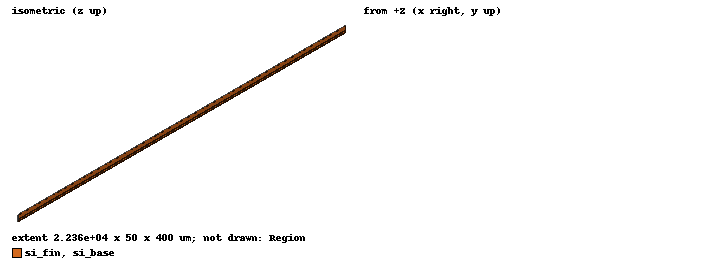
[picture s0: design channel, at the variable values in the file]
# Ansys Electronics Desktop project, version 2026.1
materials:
  air: permittivity=1.0006 permeability=1.0000004 thermal_conductivity=0.0261 mass_density=1.1614 specific_heat=1005 thermal_expansion_coefficient=0.00333 thermal_material_type=Fluid diffusivity=2.88e-05 molecular_mass=0.028966 viscosity=1.84e-05 material_refractive_index=1.000293
  si_k130: permittivity=1 permeability=1 thermal_conductivity=130 mass_density=2329 specific_heat=703 diffusivity=0.8
  Water(@320K): thermal_conductivity=0.6367 mass_density=989 specific_heat=4177 thermal_expansion_coefficient=0.000435 thermal_material_type=Fluid diffusivity=5.66e-07 molecular_mass=0.018015 viscosity=0.000577 material_refractive_index=1.333
  water_corr: permittivity=1 permeability=1 thermal_conductivity=0.644 mass_density=988 specific_heat=4181 thermal_expansion_coefficient=0.000435 thermal_material_type=Fluid diffusivity=5.66e-07 molecular_mass=0.018015 viscosity=0.000547 material_refractive_index=1.333
  Al-Extruded: thermal_conductivity=205 mass_density=2800 specific_heat=900 youngs_modulus=69000000000 poissons_ratio=0.33 thermal_expansion_coefficient=2.277e-06 thermal_material_type=Solid
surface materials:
  Steel-oxidised-surface: surface_emissivity=0.8

design channel (Icepak, SteadyState TemperatureAndFlow, model units um)
options: Default_Fluid_Material=water_corr Default_Solid_Material=si_k130 Default_Surface_Material=Steel-oxidised-surface AmbientTemperature=25cel AmbientPressure=0n_per_meter_sq AmbientRadiationTemperature=25cel Gravity_Vector_CS_ID=Global Gravity_Vector_Axis=X Positive=false SherlockExportDirectory=/home/beams/MGHARIB/claude_scratch/aedt_work/icepak Altitude=0meter OperatingPressure=101325n_per_meter_sq OperatingDensity=1.225kg_per_m3 JouleHeatingType=0 DisableShellConductionForJouleHeating
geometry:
  Region [water_corr] = region(percentage_offset=0 on all sides)
  si_base [si_k130] = box(corner=(0um, 0um, 0um), size=(22360um, 50um, 100um))
  si_fin [si_k130] = box(corner=(0um, 0um, 100um), size=(22360um, 25um, 300um))
  inlet_sheet [air] = rectangle(corner=(0um, 25um, 100um), y_size=25um, z_size=300um)
  outlet_sheet [air] = rectangle(corner=(22360um, 25um, 100um), y_size=25um, z_size=300um)
  point Point_0U8TUY = (500um, 25um, 1um)
  point Point_G7B4KT = (2000um, 25um, 1um)
  point Point_13JPAH = (6000um, 25um, 1um)
  point Point_LOM3P7 = (11180um, 25um, 1um)
  point Point_IBOD4N = (21500um, 25um, 1um)
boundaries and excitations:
  inlet_mflow: Opening Objects=inlet_sheet Temperature=25cel External_Rad._Temperature=AmbientRadTemp Inlet_Type="Mass Flow" Total_Pressure=AmbientPressure Mass_Flow_Rate=6.05381166e-05kg_per_s Mass_Flow_Direction="Normal to Boundary" Mass_Flow_Condition="In Flow"
  outlet_p: Opening Objects=outlet_sheet Temperature=25cel External_Rad._Temperature=AmbientRadTemp Inlet_Type=Pressure Total_Pressure=0pascal
  sym_y: Symmetry Wall Faces=Region.face(-y, +y)
  q_base: Source Faces=si_base.face(-z) Thermal_Condition="Total Power" Total_Power=2.56366816W
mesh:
  Global:  MeshMethod=MesherHD UserSpecifiedSettings ComputeGap MaxElementSizeX=200um MaxElementSizeY=4.16667um MaxElementSizeZ=10um MinElementsInGap=3 MinElementsOnEdge=2 MaxSizeRatio=2 EnforeMLMType=3D MaxLevels=0 BufferLayers=0 UniformMeshParametersType=Average MinGapX=1um MinGapY=1um MinGapZ=1um Objects=Region FacetLevel=3 ProximitySizeFunction CurvatureSizeFunction OptimizePCBMesh
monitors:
  T_x0p5mm: Quantities(19) Points=#113
  T_x2mm: Quantities(19) Points=#114
  T_x6mm: Quantities(19) Points=#115
  T_x11p18mm: Quantities(19) Points=#116
  T_x21p5mm: Quantities(19) Points=#117
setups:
  S1: IcepakSteadyState Flow_Regime=Laminar Include_Temperature=true Include_Flow=true Solution_Initialization_-_X_Velocity=8.16979m_per_sec Solution_Initialization_-_Temperature=25cel Convergence_Criteria_-_Flow=1e-06 Convergence_Criteria_-_Energy=1e-12 GPU_Convergence_Criteria_-_Flow=0.001 GPU_Convergence_Criteria_-_Energy=1e-05 disabled Radiation_Model=Off Under-relaxation_-_Pressure=0.7 Under-relaxation_-_Momentum=0.3 Under-relaxation_-_Temperature=1 Under-relaxation_-_Body_Force=1 Discretization_Scheme_-_Pressure=Standard Discretization_Scheme_-_Momentum=Second Discretization_Scheme_-_Temperature=Second Enable_Hybrid_precision_for_GPU Partition_method=Metis Convergence_Criteria_-_Max_Iterations=5000
